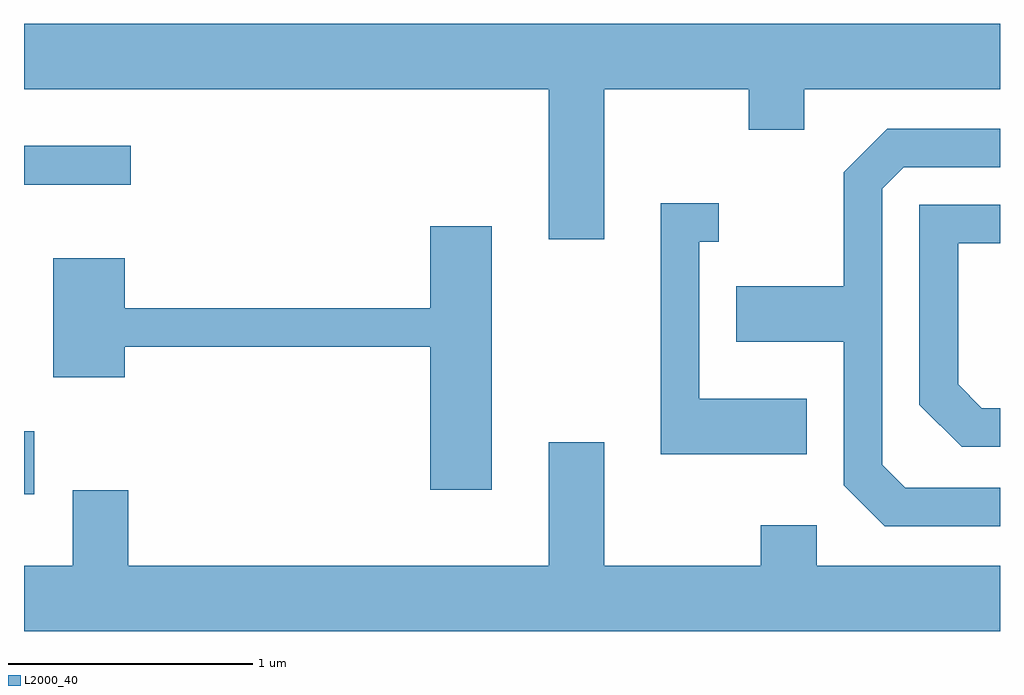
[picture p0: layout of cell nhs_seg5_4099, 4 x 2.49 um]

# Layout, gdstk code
import gdstk
lib = gdstk.Library(unit=1e-6, precision=1e-09)
def R(c, l, rs):  # rectangles x0, y0, x1, y1
    for r in rs: c.add(gdstk.rectangle(r[:2], r[2:], *l))
def P(c, l, *ps):  # polygons
    for p in ps: c.add(gdstk.Polygon(p, *l))
L2000_40 = (2000, 40)

nhs_seg5_4099 = lib.new_cell('nhs_seg5_4099')
R(nhs_seg5_4099, L2000_40, [(307.611,1397.416,307.654,1397.674), (307.611,1398.686,308.048,1398.844)])
P(nhs_seg5_4099, L2000_40, [(309.989,1399.076),(310.581,1399.076),(310.581,1398.911),(310.809,1398.911),(310.809,1399.076),(311.611,1399.076),(311.611,1399.344),(307.611,1399.344),(307.611,1399.076),(309.761,1399.076),(309.761,1398.461),(309.989,1398.461)],
  [(311.611,1397.444),(311.222,1397.444),(311.129,1397.537),(311.129,1398.669),(311.217,1398.756),(311.611,1398.756),(311.611,1398.914),(311.149,1398.914),(310.971,1398.737),(310.971,1398.269),(310.531,1398.269),(310.531,1398.041),(310.971,1398.041),(310.971,1397.454),(311.139,1397.286),(311.611,1397.286)],
  [(310.819,1397.809),(310.379,1397.809),(310.379,1398.451),(310.458,1398.451),(310.458,1398.609),(310.221,1398.609),(310.221,1397.581),(310.819,1397.581)],
  [(311.611,1397.769),(311.537,1397.769),(311.439,1397.867),(311.439,1398.446),(311.611,1398.446),(311.611,1398.604),(311.281,1398.604),(311.281,1397.784),(311.454,1397.611),(311.611,1397.611)],
  [(309.529,1398.514),(309.276,1398.514),(309.276,1398.179),(308.024,1398.179),(308.024,1398.384),(307.731,1398.384),(307.731,1397.896),(308.024,1397.896),(308.024,1398.021),(309.276,1398.021),(309.276,1397.436),(309.529,1397.436)],
  [(311.611,1397.124),(310.859,1397.124),(310.859,1397.289),(310.631,1397.289),(310.631,1397.124),(309.989,1397.124),(309.989,1397.629),(309.761,1397.629),(309.761,1397.124),(308.039,1397.124),(308.039,1397.434),(307.811,1397.434),(307.811,1397.124),(307.611,1397.124),(307.611,1396.856),(311.611,1396.856)])

lib.write_gds('nhs_seg5_4099.gds')
